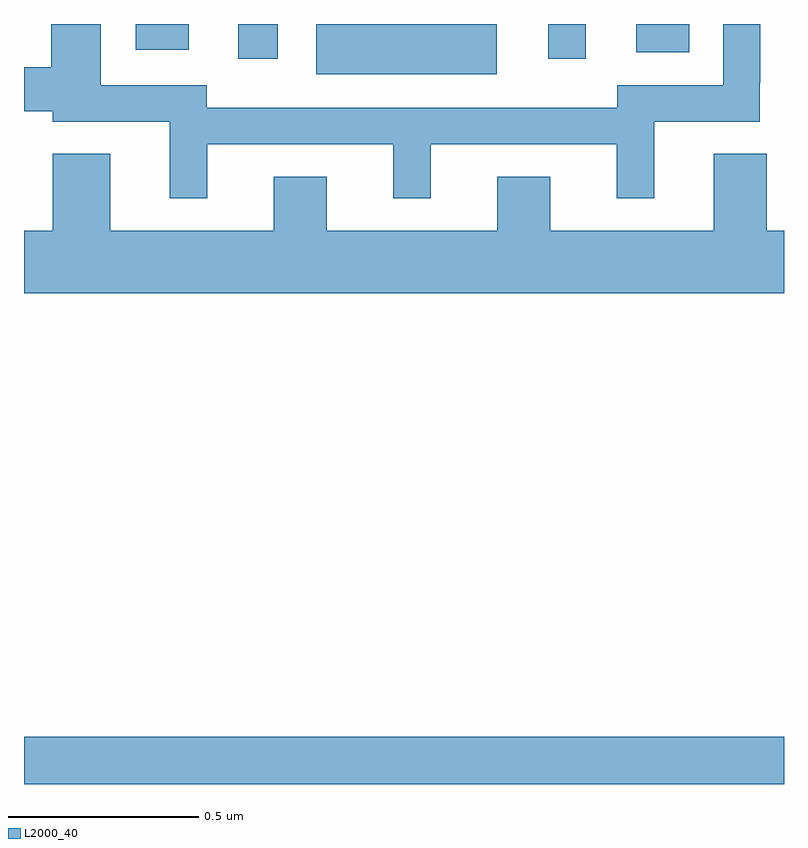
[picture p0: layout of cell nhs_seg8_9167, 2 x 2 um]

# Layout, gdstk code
import gdstk
lib = gdstk.Library(unit=1e-6, precision=1e-09)
def R(c, l, rs):  # rectangles x0, y0, x1, y1
    for r in rs: c.add(gdstk.rectangle(r[:2], r[2:], *l))
def P(c, l, *ps):  # polygons
    for p in ps: c.add(gdstk.Polygon(p, *l))
L2000_40 = (2000, 40)

nhs_seg8_9167 = lib.new_cell('nhs_seg8_9167')
R(nhs_seg8_9167, L2000_40, [(233,1089.9,235,1090.024), (233.769,1091.768,234.244,1091.899), (233.564,1091.808,233.668,1091.9), (234.38,1091.808,234.478,1091.9), (234.611,1091.826,234.751,1091.9), (233.294,1091.832,233.434,1091.9)])
P(nhs_seg8_9167, L2000_40, [(233.482,1091.583),(233.972,1091.583),(233.972,1091.442),(234.07,1091.442),(234.07,1091.583),(234.56,1091.583),(234.56,1091.442),(234.658,1091.442),(234.658,1091.643),(234.936,1091.643),(234.936,1091.746),(234.937,1091.746),(234.937,1091.9),(234.84,1091.9),(234.84,1091.739),(234.561,1091.739),(234.561,1091.679),(233.481,1091.679),(233.481,1091.739),(233.202,1091.739),(233.202,1091.9),(233.072,1091.9),(233.072,1091.786),(233,1091.786),(233,1091.67),(233.076,1091.67),(233.076,1091.643),(233.384,1091.643),(233.384,1091.442),(233.482,1091.442)],
  [(235,1091.356),(234.955,1091.356),(234.955,1091.558),(234.815,1091.558),(234.815,1091.356),(234.385,1091.356),(234.385,1091.498),(234.245,1091.498),(234.245,1091.356),(233.797,1091.356),(233.797,1091.498),(233.657,1091.498),(233.657,1091.356),(233.227,1091.356),(233.227,1091.558),(233.075,1091.558),(233.075,1091.356),(233,1091.356),(233,1091.192),(235,1091.192)])

lib.write_gds('nhs_seg8_9167.gds')
